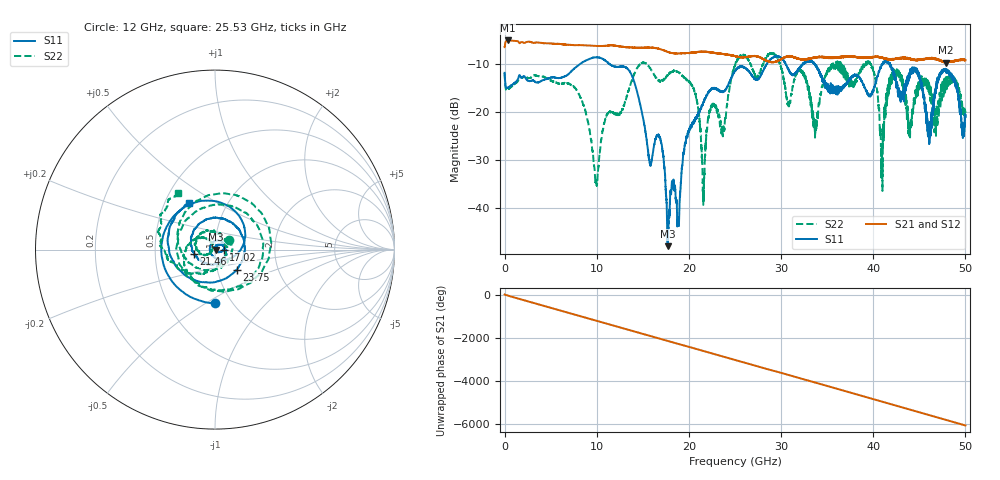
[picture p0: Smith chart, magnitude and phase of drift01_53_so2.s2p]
!Created with skrf (http://scikit-rf.org).
# Hz S RI R 50.0
!freq ReS11 ImS11 ReS21 ImS21 ReS12 ImS12 ReS22 ImS22
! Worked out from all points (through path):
!   10001 points, 300 kHz to 50 GHz, reference 50 ohm
!   highest |S21| = -5.05 dB at 325.3 MHz (marker M1); lowest = -9.7 dB at 47.87 GHz (marker M2)
!   group delay of S21, straight-line fit = 336 ps
!   lowest |S11| = -47.9 dB at 17.69 GHz (marker M3), VSWR 1.01, Z = 50.4 - j0.0341 ohm
!   |S11| at or under -10 dB: start of sweep to 8.14 GHz; 11.43 GHz to 28.44 GHz (17.01 GHz wide, 85.4 % of centre); 41.8 GHz to end of sweep (the widest 3 of 11)
!   |S22| runs from -39.3 to -7.6 dB; largest |S21 - S12| = 0.015
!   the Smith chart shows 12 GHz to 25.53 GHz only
!   S11 on the Smith chart (normalised r, x): 12 GHz: 0.84, -0.55; 17.02 GHz: 1.10, -0.00; 21.46 GHz: 0.79, -0.04; 23.75 GHz: 1.24, -0.29; 25.53 GHz: 0.66, +0.38
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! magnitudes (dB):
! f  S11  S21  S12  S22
! 300 kHz  -11.8  -6.4  -6.5  -11.8
! 325.3 MHz  -15.0  -5.1  -5.1  -15.4
! 8.335 GHz  -9.8  -6.0  -6.0  -17.5
! 9.935 GHz  -8.6  -6.2  -6.2  -34.5
! 12 GHz  -10.5  -6.1  -6.1  -20.5
! 16.67 GHz  -24.6  -6.8  -6.7  -13.4
! 17.02 GHz  -26.4  -6.9  -6.9  -13.6
! 17.69 GHz  -47.9  -7.4  -7.4  -12.3
! 20.5 GHz  -22.1  -7.5  -7.6  -15.0
! 21.46 GHz  -18.5  -7.4  -7.4  -31.3
! 22.46 GHz  -15.1  -7.5  -7.5  -18.7
! 23.75 GHz  -15.6  -7.9  -7.9  -22.9
! 25 GHz  -11.4  -8.3  -8.4  -10.3
! 25.53 GHz  -10.6  -8.5  -8.5  -8.5
! 33.34 GHz  -9.5  -8.7  -8.7  -20.0
! 39.49 GHz  -16.4  -8.6  -8.6  -10.0
! 40.94 GHz  -9.9  -8.6  -8.6  -27.8
! 41.67 GHz  -9.8  -8.9  -9.0  -15.8
! 44.79 GHz  -11.5  -9.1  -9.0  -15.4
! 46.06 GHz  -25.7  -8.7  -8.7  -14.6
! 47.87 GHz  -11.4  -9.7  -9.6  -12.8
! 50 GHz  -20.9  -9.2  -9.1  -20.1
